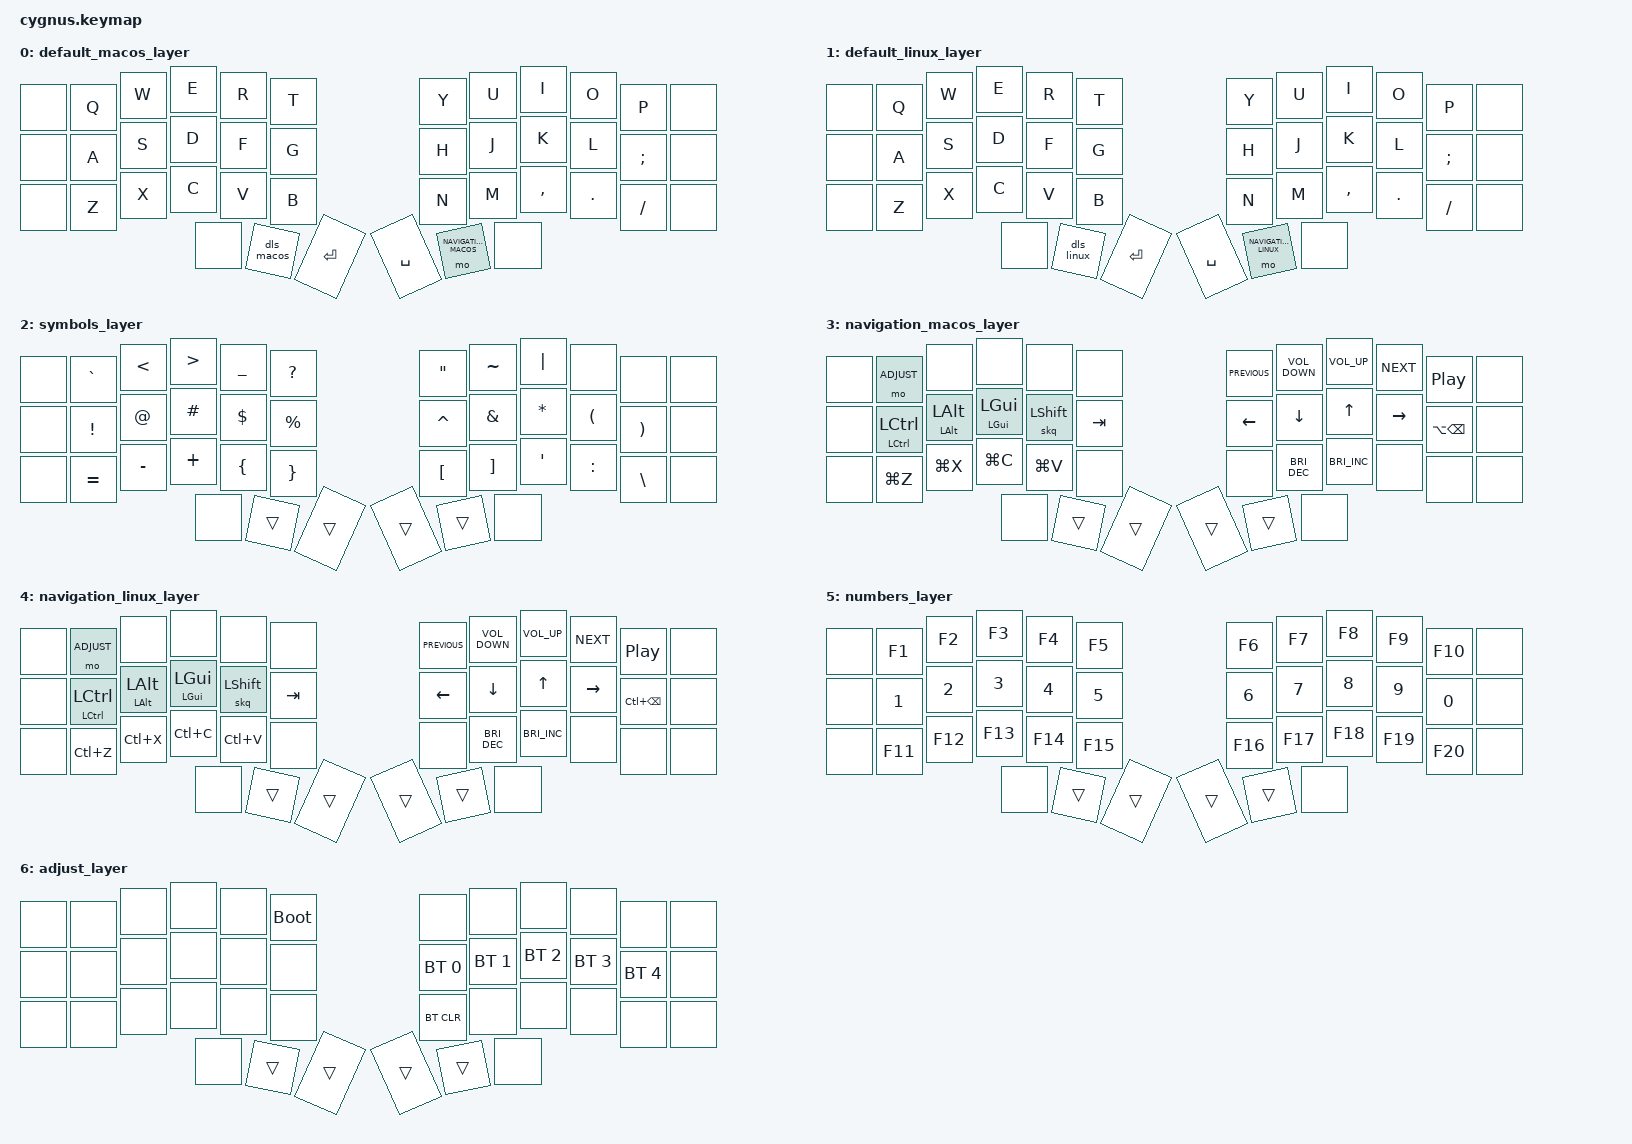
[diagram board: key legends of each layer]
 #include <behaviors.dtsi>
 #include <dt-bindings/zmk/keys.h>
 #include <dt-bindings/zmk/bt.h>

#define DEFAULT_MACOS 0
#define DEFAULT_LINUX 1
#define SYMBOLS 2
#define NAVIGATION_MACOS 3
#define NAVIGATION_LINUX 4
#define NUMBERS 5
#define ADJUST 6
#define DEFAULT_TIMEOUT 15
#define LONGER_TIMEOUT 50

#define COMBO(NAME, BINDINGS, KEYPOS, TIMEOUT, LAYERS) \
combo_##NAME { \
    timeout-ms = <TIMEOUT>; \
    bindings = <BINDINGS>; \
    key-positions = <KEYPOS>; \
    require-prior-idle-ms = <110>; \
    layers = <LAYERS>; \
};

/ {

    behaviors {
        isk: intuitive_sk {
            compatible = "zmk,behavior-hold-tap";
            #binding-cells = <2>;
            flavor = "balanced";
            tapping-term-ms = <200>;
            bindings = <&kp>, <&sk>;
        };
        skq: sticky_key_quick_release {
            compatible = "zmk,behavior-sticky-key";
            #binding-cells = <1>;
            bindings = <&kp>;
            release-after-ms = <1000>;
            quick-release;
        };
        dls_macos: double_layer_switch_macos {
            compatible = "zmk,behavior-tap-dance";
            #binding-cells = <0>;
            tapping-term-ms = <200>;
            bindings = <&mo SYMBOLS>, <&sl NAVIGATION_MACOS>;
        };
        dls_linux: double_layer_switch_linux {
            compatible = "zmk,behavior-tap-dance";
            #binding-cells = <0>;
            tapping-term-ms = <200>;
            bindings = <&mo SYMBOLS>, <&sl NAVIGATION_LINUX>;
        };
    };

    conditional_layers {
        compatible = "zmk,conditional-layers";
        tri_macos_layer {
            if-layers = <SYMBOLS NAVIGATION_MACOS>;
            then-layer = <NUMBERS>;
        };
        tri_linux_layer {
            if-layers = <SYMBOLS NAVIGATION_LINUX>;
            then-layer = <NUMBERS>;
        };
    };

    combos {
        compatible = "zmk,combos";
        COMBO(sqt, &kp SQT, 15 16, DEFAULT_TIMEOUT, DEFAULT_MACOS DEFAULT_LINUX SYMBOLS NAVIGATION_MACOS NAVIGATION_LINUX NUMBERS ADJUST)
        COMBO(esc, &kp ESC, 3 4, DEFAULT_TIMEOUT, DEFAULT_MACOS DEFAULT_LINUX SYMBOLS NAVIGATION_MACOS NAVIGATION_LINUX NUMBERS ADJUST)
        COMBO(caps_word, &caps_word, 25 34, LONGER_TIMEOUT, DEFAULT_MACOS DEFAULT_LINUX SYMBOLS NAVIGATION_MACOS NAVIGATION_LINUX NUMBERS ADJUST)
        COMBO(bspc, &kp BSPC, 7 8, LONGER_TIMEOUT, DEFAULT_MACOS DEFAULT_LINUX SYMBOLS NAVIGATION_MACOS NAVIGATION_LINUX NUMBERS ADJUST)
        COMBO(toggle_linux, &tog DEFAULT_LINUX, 13 22, LONGER_TIMEOUT, DEFAULT_MACOS DEFAULT_LINUX)
        COMBO(tmux_prefix, &kp LC(S), 13 14, DEFAULT_TIMEOUT, DEFAULT_MACOS DEFAULT_LINUX)
        COMBO(tmux_session_prefix, &kp LA(S), 14 15, DEFAULT_TIMEOUT, DEFAULT_MACOS DEFAULT_LINUX)
        COMBO(screen_shot_capture, &kp LG(LS(N4)), 26 27, DEFAULT_TIMEOUT, DEFAULT_MACOS)
        COMBO(screen_shot_capture_settings, &kp LG(LS(N5)), 27 28, DEFAULT_TIMEOUT, DEFAULT_MACOS)
    };

// ______________________________  ____________________________
// |  0  |   1 |  2  |  3  |  4 | 5  |     |  6 |  7 |  8 |   9 |  10 |  11 |
// | 12  |  13 | 14  | 15  | 16 | 17 |     | 18 | 19 | 20 |  21 |  22 |  23 |
// | 24  |  25 | 26  | 27  | 28 | 29 |     | 30 | 31 | 32 |  33 |  34 |  35 |
//             | 36  | 37  | 38 | 39 |     | 40 | 41 |
//                       ------      ------

    keymap {
        compatible = "zmk,keymap";

        default_macos_layer {
            bindings = <
              &none  &kp Q &kp W &kp E &kp R       &kp T          &kp Y   &kp U &kp I     &kp O   &kp P &none
              &none  &kp A &kp S &kp D &kp F       &kp G          &kp H   &kp J &kp K     &kp L   &kp SEMI &none
              &none  &kp Z &kp X &kp C &kp V       &kp B          &kp N   &kp M &kp COMMA &kp DOT &kp SLASH &none
                       &none      &dls_macos  &kp ENTER      &kp SPC &mo NAVIGATION_MACOS &none
            >;
        };

        default_linux_layer {
            bindings = <
              &none  &kp Q &kp W &kp E &kp R       &kp T          &kp Y   &kp U &kp I     &kp O   &kp P &none
              &none  &kp A &kp S &kp D &kp F       &kp G          &kp H   &kp J &kp K     &kp L   &kp SEMI &none
              &none  &kp Z &kp X &kp C &kp V       &kp B          &kp N   &kp M &kp COMMA &kp DOT &kp SLASH &none
                          &none    &dls_linux  &kp ENTER      &kp SPC &mo NAVIGATION_LINUX &none
            >;
        };

        symbols_layer {
            bindings = <
             &none   &kp GRAVE &kp LT    &kp GT   &kp UNDER   &kp QMARK         &kp DQT   &kp TILDE &kp PIPE       &none    &none &none
             &none   &kp EXCL  &kp AT    &kp HASH &kp DLLR &kp PRCNT            &kp CARET &kp AMPS &kp ASTERISK &kp LPAR  &kp RPAR &none
             &none   &kp EQUAL &kp MINUS &kp PLUS &kp LBRC &kp RBRC             &kp LBKT  &kp RBKT &kp SQT      &kp COLON &kp BSLH &none
                                    &none    &trans   &trans               &trans    &trans &none
            >;
        };

        navigation_macos_layer {
            bindings = <
             &none   &mo ADJUST  &none      &none      &none       &none           &kp C_PREVIOUS &kp C_VOLUME_DOWN    &kp C_VOLUME_UP      &kp C_NEXT &kp C_PLAY_PAUSE &none
             &none   &isk LCTRL LCTRL  &isk LALT LALT  &isk LGUI LGUI  &skq LSHIFT &kp TAB         &kp LEFT       &kp DOWN             &kp UP               &kp RIGHT  &kp LA(BSPC) &none
             &none   &kp LG(Z)  &kp LG(X) &kp LG(C) &kp LG(V)   &none           &none          &kp C_BRIGHTNESS_DEC &kp C_BRIGHTNESS_INC &none      &none &none
                            &none     &trans      &trans          &trans         &trans &none
            >;
        };

        navigation_linux_layer {
            bindings = <
             &none   &mo ADJUST &none     &none     &none       &none           &kp C_PREVIOUS &kp C_VOLUME_DOWN    &kp C_VOLUME_UP      &kp C_NEXT &kp C_PLAY_PAUSE &none
             &none   &isk LCTRL LCTRL  &isk LALT LALT  &isk LGUI LGUI  &skq LSHIFT &kp TAB         &kp LEFT       &kp DOWN             &kp UP               &kp RIGHT  &kp LC(BSPC) &none
             &none   &kp LC(Z)  &kp LC(X) &kp LC(C) &kp LC(V)   &none           &none          &kp C_BRIGHTNESS_DEC &kp C_BRIGHTNESS_INC &none      &none &none
                                        &none     &trans      &trans          &trans         &trans  &none
            >;
        };

        numbers_layer {
            bindings = <
              &none  &kp F1  &kp F2  &kp F3  &kp F4  &kp F5     &kp F6  &kp F7  &kp F8  &kp F9  &kp F10 &none
              &none  &kp N1  &kp N2  &kp N3  &kp N4  &kp N5     &kp N6  &kp N7  &kp N8  &kp N9  &kp N0 &none
              &none  &kp F11 &kp F12 &kp F13 &kp F14 &kp F15    &kp F16 &kp F17 &kp F18 &kp F19 &kp F20 &none
                                 &none  &trans  &trans     &trans  &trans &none

            >;
        };

        adjust_layer {
            bindings = <
          &none  &none  &none  &none  &none   &bootloader       &none        &none        &none        &none        &none &none
          &none  &none  &none  &none  &none   &none             &bt BT_SEL 0 &bt BT_SEL 1 &bt BT_SEL 2 &bt BT_SEL 3 &bt BT_SEL 4 &none
          &none  &none  &none  &none  &none   &none             &bt BT_CLR   &none        &none        &none        &none &none
                             &none   &trans  &trans            &trans       &trans &none
            >;
        };
    };
};
